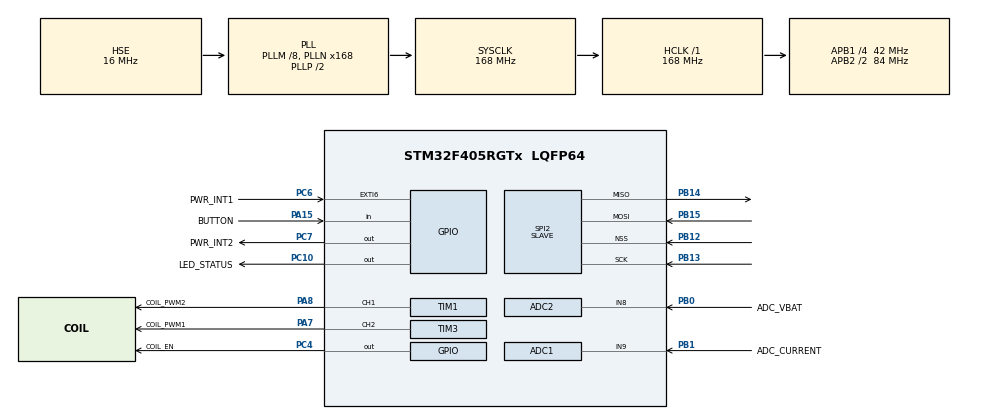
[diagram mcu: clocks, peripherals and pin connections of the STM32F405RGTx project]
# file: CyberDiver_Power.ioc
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ADC1.Channel-0\#ChannelRegularConversion=ADC_CHANNEL_9
ADC1.ContinuousConvMode=DISABLE
ADC1.DMAContinuousRequests=ENABLE
ADC1.ExternalTrigConv=ADC_EXTERNALTRIGCONV_T2_TRGO
ADC1.ExternalTrigConvEdge=ADC_EXTERNALTRIGCONVEDGE_FALLING
ADC1.NbrOfConversion=1
ADC1.NbrOfConversionFlag=1
ADC1.Rank-0\#ChannelRegularConversion=1
ADC1.SamplingTime-0\#ChannelRegularConversion=ADC_SAMPLETIME_3CYCLES
ADC1.master=1
ADC2.Channel-0\#ChannelRegularConversion=ADC_CHANNEL_8
ADC2.NbrOfConversionFlag=1
ADC2.Rank-0\#ChannelRegularConversion=1
ADC2.SamplingTime-0\#ChannelRegularConversion=ADC_SAMPLETIME_56CYCLES
Dma.ADC1.0.Direction=DMA_PERIPH_TO_MEMORY
Dma.ADC1.0.FIFOMode=DMA_FIFOMODE_DISABLE
Dma.ADC1.0.Instance=DMA2_Stream0
Dma.ADC1.0.MemDataAlignment=DMA_MDATAALIGN_HALFWORD
Dma.ADC1.0.MemInc=DMA_MINC_ENABLE
Dma.ADC1.0.Mode=DMA_CIRCULAR
Dma.ADC1.0.PeriphDataAlignment=DMA_PDATAALIGN_HALFWORD
Dma.ADC1.0.PeriphInc=DMA_PINC_DISABLE
Dma.ADC1.0.Priority=DMA_PRIORITY_VERY_HIGH
Dma.Request0=ADC1
Dma.Request1=SPI2_RX
Dma.Request2=SPI2_TX
Dma.SPI2_RX.1.Direction=DMA_PERIPH_TO_MEMORY
Dma.SPI2_RX.1.FIFOMode=DMA_FIFOMODE_DISABLE
Dma.SPI2_RX.1.Instance=DMA1_Stream3
Dma.SPI2_RX.1.MemDataAlignment=DMA_MDATAALIGN_BYTE
Dma.SPI2_RX.1.MemInc=DMA_MINC_ENABLE
Dma.SPI2_RX.1.Mode=DMA_CIRCULAR
Dma.SPI2_RX.1.PeriphDataAlignment=DMA_PDATAALIGN_BYTE
Dma.SPI2_RX.1.PeriphInc=DMA_PINC_DISABLE
Dma.SPI2_RX.1.Priority=DMA_PRIORITY_HIGH
Dma.SPI2_TX.2.Direction=DMA_MEMORY_TO_PERIPH
Dma.SPI2_TX.2.FIFOMode=DMA_FIFOMODE_DISABLE
Dma.SPI2_TX.2.Instance=DMA1_Stream4
Dma.SPI2_TX.2.MemDataAlignment=DMA_MDATAALIGN_BYTE
Dma.SPI2_TX.2.MemInc=DMA_MINC_ENABLE
Dma.SPI2_TX.2.Mode=DMA_CIRCULAR
Dma.SPI2_TX.2.PeriphDataAlignment=DMA_PDATAALIGN_BYTE
Dma.SPI2_TX.2.PeriphInc=DMA_PINC_DISABLE
Dma.SPI2_TX.2.Priority=DMA_PRIORITY_HIGH
Mcu.Family=STM32F4
Mcu.Name=STM32F405RGTx
Mcu.Package=LQFP64
NVIC.DMA1_Stream3_IRQn=true\:1\:1\:true\:false\:true\:false\:true\:false
NVIC.DMA1_Stream4_IRQn=true\:1\:1\:true\:false\:true\:false\:true\:false
NVIC.DMA2_Stream0_IRQn=true\:0\:0\:true\:false\:true\:false\:true\:false
NVIC.EXTI9_5_IRQn=true\:2\:2\:true\:false\:true\:true\:true\:false
NVIC.PriorityGroup=NVIC_PRIORITYGROUP_2
NVIC.TIM2_IRQn=true\:0\:0\:true\:false\:true\:true\:true\:false
PA13.Mode=Trace_Asynchronous_SW
PA13.Signal=SYS_JTMS-SWDIO
PA14.Mode=Trace_Asynchronous_SW
PA14.Signal=SYS_JTCK-SWCLK
PA15.GPIO_Label=BUTTON
PA15.Signal=GPIO_Input
PA7.GPIO_Label=COIL_PWM1
PA7.Signal=S_TIM3_CH2
PA8.GPIO_Label=COIL_PWM2
PA8.Signal=S_TIM1_CH1
PB0.GPIO_Label=ADC_VBAT
PB0.Signal=ADCx_IN8
PB1.GPIO_Label=ADC_CURRENT
PB1.Signal=ADCx_IN9
PB12.Mode=NSS_Signal_Hard_Input
PB12.Signal=SPI2_NSS
PB13.Mode=Full_Duplex_Slave
PB13.Signal=SPI2_SCK
PB14.Mode=Full_Duplex_Slave
PB14.Signal=SPI2_MISO
PB15.Mode=Full_Duplex_Slave
PB15.Signal=SPI2_MOSI
PB3.Mode=Trace_Asynchronous_SW
PB3.Signal=SYS_JTDO-SWO
PC10.GPIO_Label=LED_STATUS
PC10.Signal=GPIO_Output
PC4.GPIO_Label=COIL_EN
PC4.GPIO_Speed=GPIO_SPEED_FREQ_VERY_HIGH
PC4.Signal=GPIO_Output
PC6.GPIO_Label=PWR_INT1
PC6.GPIO_ModeDefaultEXTI=GPIO_MODE_IT_RISING_FALLING
PC6.Signal=GPXTI6
PC7.GPIO_Label=PWR_INT2
PC7.GPIO_Speed=GPIO_SPEED_FREQ_VERY_HIGH
PC7.Signal=GPIO_Output
PH0-OSC_IN.Mode=HSE-External-Oscillator
PH0-OSC_IN.Signal=RCC_OSC_IN
PH1-OSC_OUT.Mode=HSE-External-Oscillator
PH1-OSC_OUT.Signal=RCC_OSC_OUT
ProjectManager.HeapSize=0x200
ProjectManager.StackSize=0x400
ProjectManager.TargetToolchain=STM32CubeIDE
RCC.48MHZClocksFreq_Value=84000000
RCC.AHBFreq_Value=168000000
RCC.APB1CLKDivider=RCC_HCLK_DIV4
RCC.APB1Freq_Value=42000000
RCC.APB1TimFreq_Value=84000000
RCC.APB2CLKDivider=RCC_HCLK_DIV2
RCC.APB2Freq_Value=84000000
RCC.APB2TimFreq_Value=168000000
RCC.CortexFreq_Value=168000000
RCC.HCLKFreq_Value=168000000
RCC.HSE_VALUE=16000000
RCC.HSI_VALUE=16000000
RCC.LSE_VALUE=32768
RCC.PLLM=8
RCC.PLLN=168
RCC.PLLSourceVirtual=RCC_PLLSOURCE_HSE
RCC.SYSCLKFreq_VALUE=168000000
RCC.SYSCLKSource=RCC_SYSCLKSOURCE_PLLCLK
RCC.VCOOutputFreq_Value=336000000
SH.ADCx_IN8.0=ADC2_IN8,IN8
SH.ADCx_IN9.0=ADC1_IN9,IN9
SH.S_TIM1_CH1.0=TIM1_CH1,PWM Generation1 CH1
SH.S_TIM3_CH2.0=TIM3_CH2,PWM Generation2 CH2
SPI2.CRCCalculation=SPI_CRCCALCULATION_DISABLE
SPI2.Direction=SPI_DIRECTION_2LINES
SPI2.Mode=SPI_MODE_SLAVE
SPI2.VirtualNSS=VM_NSSHARD
SPI2.VirtualType=VM_SLAVE
TIM1.AutomaticOutput=TIM_AUTOMATICOUTPUT_DISABLE
TIM1.BreakPolarity=TIM_BREAKPOLARITY_HIGH
TIM1.BreakState=TIM_BREAK_DISABLE
TIM1.Channel-PWM\ Generation1\ CH1=TIM_CHANNEL_1
TIM1.CounterMode=TIM_COUNTERMODE_CENTERALIGNED1
TIM1.OCIdleState_1=TIM_OCIDLESTATE_SET
TIM1.OffStateIDLEMode=TIM_OSSI_DISABLE
TIM1.OffStateRunMode=TIM_OSSR_DISABLE
TIM1.Period=65535
TIM1.Prescaler=1
TIM1.Pulse-PWM\ Generation1\ CH1=0
TIM1.TIM_MasterOutputTrigger=TIM_TRGO_RESET
TIM1.TIM_MasterSlaveMode=TIM_MASTERSLAVEMODE_DISABLE
TIM2.Channel-PWM\ Generation2\ No\ Output=TIM_CHANNEL_2
TIM2.OC2Preload_PWM=DISABLE
TIM2.OCMode_PWM-PWM\ Generation2\ No\ Output=TIM_OCMODE_PWM1
TIM2.OCPolarity_2=TIM_OCPOLARITY_HIGH
TIM2.Period=4294967295
TIM2.Pulse-PWM\ Generation2\ No\ Output=0
TIM2.TIM_MasterOutputTrigger=TIM_TRGO_OC2REF
TIM2.TIM_MasterSlaveMode=TIM_MASTERSLAVEMODE_DISABLE
TIM3.Channel-PWM\ Generation2\ CH2=TIM_CHANNEL_2
TIM3.CounterMode=TIM_COUNTERMODE_CENTERALIGNED1
TIM3.Period=1679
TIM3.Pulse-PWM\ Generation2\ CH2=0
TIM3.TIM_MasterOutputTrigger=TIM_TRGO_RESET
TIM3.TIM_MasterSlaveMode=TIM_MASTERSLAVEMODE_DISABLE
TIM4.Period=1000
TIM4.TIM_MasterOutputTrigger=TIM_TRGO_UPDATE
TIM4.TIM_MasterSlaveMode=TIM_MASTERSLAVEMODE_DISABLE
VP_TIM1_VS_ClockSourceINT.Mode=Internal
VP_TIM1_VS_ClockSourceITR.Mode=TriggerSource_ITR3
VP_TIM1_VS_ControllerModeTrigger.Mode=Trigger Mode
VP_TIM2_VS_ClockSourceINT.Mode=Internal
VP_TIM2_VS_ClockSourceITR.Mode=TriggerSource_ITR3
VP_TIM2_VS_ControllerModeTrigger.Mode=Trigger Mode
VP_TIM2_VS_no_output2.Mode=PWM Generation2 No Output
VP_TIM3_VS_ClockSourceINT.Mode=Internal
VP_TIM3_VS_ClockSourceITR.Mode=TriggerSource_ITR3
VP_TIM3_VS_ControllerModeTrigger.Mode=Trigger Mode
VP_TIM4_VS_ClockSourceINT.Mode=Internal
VP_TIM4_VS_OPM.Mode=OPM_bit
board=custom

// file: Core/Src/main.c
/* USER CODE BEGIN Header */
/**
  ******************************************************************************
  * @file           : main.c
  * @brief          : Main program body
  ******************************************************************************
  * @attention
  *
  * Copyright (c) 2024 STMicroelectronics.
  * All rights reserved.
  *
  * This software is licensed under terms that can be found in the LICENSE file
  * in the root directory of this software component.
  * If no LICENSE file comes with this software, it is provided AS-IS.
  *
  ******************************************************************************
  */
/* USER CODE END Header */
#include "main.h"

/* USER CODE BEGIN Includes */
#include "power_board.h"
/* USER CODE END Includes */

ADC_HandleTypeDef hadc1;
ADC_HandleTypeDef hadc2;
DMA_HandleTypeDef hdma_adc1;

SPI_HandleTypeDef hspi2;
DMA_HandleTypeDef hdma_spi2_rx;
DMA_HandleTypeDef hdma_spi2_tx;

TIM_HandleTypeDef htim1;
TIM_HandleTypeDef htim2;
TIM_HandleTypeDef htim3;
TIM_HandleTypeDef htim4;

/* USER CODE BEGIN PV */

PowerBoard pb;

/* USER CODE END PV */

void SystemClock_Config(void);
static void MX_GPIO_Init(void);
static void MX_DMA_Init(void);
static void MX_ADC1_Init(void);
static void MX_ADC2_Init(void);
static void MX_SPI2_Init(void);
static void MX_TIM1_Init(void);
static void MX_TIM2_Init(void);
static void MX_TIM3_Init(void);
static void MX_TIM4_Init(void);

/* USER CODE BEGIN 0 */

void HAL_GPIO_EXTI_Callback(uint16_t GPIO_Pin)
{
	/* called on rising/falling edge of INT1 signal */
	PowerBoardInterface_SetMode(&(pb.interface), HAL_GPIO_ReadPin(PWR_INT1_GPIO_Port, PWR_INT1_Pin));
}

void HAL_SPI_TxRxCpltCallback(SPI_HandleTypeDef *hspi)
{
	PowerBoardInterface_SPIComplete(&(pb.interface));
}

void HAL_SPI_TxRxHalfCpltCallback(SPI_HandleTypeDef *hspi)
{
	PowerBoardInterface_SPIComplete(&(pb.interface));
}

/* double buffer the ADC readings so that we can safely process them when we update the controller */
void HAL_ADC_ConvHalfCpltCallback(ADC_HandleTypeDef* hadc)
{
	PowerBoard_ControllerUpdate(&pb);
}

void HAL_ADC_ConvCpltCallback(ADC_HandleTypeDef* hadc)
{
	PowerBoard_ControllerUpdate(&pb);
}

#ifdef PB_TEST
void HAL_TIM_OC_DelayElapsedCallback(TIM_HandleTypeDef *htim)
{
	PWR_INT2_GPIO_Port->BSRR = PWR_INT2_Pin;
	PWR_INT2_GPIO_Port->BSRR = (uint32_t)PWR_INT2_Pin << 16U;
}
#endif

/* USER CODE END 0 */

int main(void)
{

  /* MCU Configuration--------------------------------------------------------*/

  /* Reset of all peripherals, Initializes the Flash interface and the Systick. */
  HAL_Init();

  /* Configure the system clock */
  SystemClock_Config();

  /* Initialize all configured peripherals */
  MX_GPIO_Init();
  MX_DMA_Init();
  MX_ADC1_Init();
  MX_ADC2_Init();
  MX_SPI2_Init();
  MX_TIM1_Init();
  MX_TIM2_Init();
  MX_TIM3_Init();
  MX_TIM4_Init();

  /* Infinite loop */
  /* USER CODE BEGIN WHILE */

  PowerBoard_Init(&pb, &htim3, &htim1, &htim2, &htim4, &hadc1, &hadc2, &hspi2);

  while (1)
  {

	PowerBoard_LoopUpdate(&pb);

    /* USER CODE END WHILE */

  }
}

void SystemClock_Config(void)
{
  RCC_OscInitTypeDef RCC_OscInitStruct = {0};
  RCC_ClkInitTypeDef RCC_ClkInitStruct = {0};

  /** Configure the main internal regulator output voltage
  */
  __HAL_RCC_PWR_CLK_ENABLE();
  __HAL_PWR_VOLTAGESCALING_CONFIG(PWR_REGULATOR_VOLTAGE_SCALE1);

  /** Initializes the RCC Oscillators according to the specified parameters
  * in the RCC_OscInitTypeDef structure.
  */
  RCC_OscInitStruct.OscillatorType = RCC_OSCILLATORTYPE_HSE;
  RCC_OscInitStruct.HSEState = RCC_HSE_ON;
  RCC_OscInitStruct.PLL.PLLState = RCC_PLL_ON;
  RCC_OscInitStruct.PLL.PLLSource = RCC_PLLSOURCE_HSE;
  RCC_OscInitStruct.PLL.PLLM = 8;
  RCC_OscInitStruct.PLL.PLLN = 168;
  RCC_OscInitStruct.PLL.PLLP = RCC_PLLP_DIV2;
  RCC_OscInitStruct.PLL.PLLQ = 4;
  if (HAL_RCC_OscConfig(&RCC_OscInitStruct) != HAL_OK)
  {
    Error_Handler();
  }

  /** Initializes the CPU, AHB and APB buses clocks
  */
  RCC_ClkInitStruct.ClockType = RCC_CLOCKTYPE_HCLK|RCC_CLOCKTYPE_SYSCLK
                              |RCC_CLOCKTYPE_PCLK1|RCC_CLOCKTYPE_PCLK2;
  RCC_ClkInitStruct.SYSCLKSource = RCC_SYSCLKSOURCE_PLLCLK;
  RCC_ClkInitStruct.AHBCLKDivider = RCC_SYSCLK_DIV1;
  RCC_ClkInitStruct.APB1CLKDivider = RCC_HCLK_DIV4;
  RCC_ClkInitStruct.APB2CLKDivider = RCC_HCLK_DIV2;

  if (HAL_RCC_ClockConfig(&RCC_ClkInitStruct, FLASH_LATENCY_5) != HAL_OK)
  {
    Error_Handler();
  }
}

static void MX_ADC1_Init(void)
{

  ADC_ChannelConfTypeDef sConfig = {0};

  /** Configure the global features of the ADC (Clock, Resolution, Data Alignment and number of conversion)
  */
  hadc1.Instance = ADC1;
  hadc1.Init.ClockPrescaler = ADC_CLOCK_SYNC_PCLK_DIV4;
  hadc1.Init.Resolution = ADC_RESOLUTION_12B;
  hadc1.Init.ScanConvMode = DISABLE;
  hadc1.Init.ContinuousConvMode = DISABLE;
  hadc1.Init.DiscontinuousConvMode = DISABLE;
  hadc1.Init.ExternalTrigConvEdge = ADC_EXTERNALTRIGCONVEDGE_FALLING;
  hadc1.Init.ExternalTrigConv = ADC_EXTERNALTRIGCONV_T2_TRGO;
  hadc1.Init.DataAlign = ADC_DATAALIGN_RIGHT;
  hadc1.Init.NbrOfConversion = 1;
  hadc1.Init.DMAContinuousRequests = ENABLE;
  hadc1.Init.EOCSelection = ADC_EOC_SINGLE_CONV;
  if (HAL_ADC_Init(&hadc1) != HAL_OK)
  {
    Error_Handler();
  }

  /** Configure for the selected ADC regular channel its corresponding rank in the sequencer and its sample time.
  */
  sConfig.Channel = ADC_CHANNEL_9;
  sConfig.Rank = 1;
  sConfig.SamplingTime = ADC_SAMPLETIME_3CYCLES;
  if (HAL_ADC_ConfigChannel(&hadc1, &sConfig) != HAL_OK)
  {
    Error_Handler();
  }

}

static void MX_ADC2_Init(void)
{

  ADC_ChannelConfTypeDef sConfig = {0};

  /** Configure the global features of the ADC (Clock, Resolution, Data Alignment and number of conversion)
  */
  hadc2.Instance = ADC2;
  hadc2.Init.ClockPrescaler = ADC_CLOCK_SYNC_PCLK_DIV4;
  hadc2.Init.Resolution = ADC_RESOLUTION_12B;
  hadc2.Init.ScanConvMode = DISABLE;
  hadc2.Init.ContinuousConvMode = DISABLE;
  hadc2.Init.DiscontinuousConvMode = DISABLE;
  hadc2.Init.ExternalTrigConvEdge = ADC_EXTERNALTRIGCONVEDGE_NONE;
  hadc2.Init.ExternalTrigConv = ADC_SOFTWARE_START;
  hadc2.Init.DataAlign = ADC_DATAALIGN_RIGHT;
  hadc2.Init.NbrOfConversion = 1;
  hadc2.Init.DMAContinuousRequests = DISABLE;
  hadc2.Init.EOCSelection = ADC_EOC_SINGLE_CONV;
  if (HAL_ADC_Init(&hadc2) != HAL_OK)
  {
    Error_Handler();
  }

  /** Configure for the selected ADC regular channel its corresponding rank in the sequencer and its sample time.
  */
  sConfig.Channel = ADC_CHANNEL_8;
  sConfig.Rank = 1;
  sConfig.SamplingTime = ADC_SAMPLETIME_56CYCLES;
  if (HAL_ADC_ConfigChannel(&hadc2, &sConfig) != HAL_OK)
  {
    Error_Handler();
  }

}

static void MX_SPI2_Init(void)
{

  /* SPI2 parameter configuration*/
  hspi2.Instance = SPI2;
  hspi2.Init.Mode = SPI_MODE_SLAVE;
  hspi2.Init.Direction = SPI_DIRECTION_2LINES;
  hspi2.Init.DataSize = SPI_DATASIZE_8BIT;
  hspi2.Init.CLKPolarity = SPI_POLARITY_LOW;
  hspi2.Init.CLKPhase = SPI_PHASE_1EDGE;
  hspi2.Init.NSS = SPI_NSS_HARD_INPUT;
  hspi2.Init.FirstBit = SPI_FIRSTBIT_MSB;
  hspi2.Init.TIMode = SPI_TIMODE_DISABLE;
  hspi2.Init.CRCCalculation = SPI_CRCCALCULATION_DISABLE;
  hspi2.Init.CRCPolynomial = 10;
  if (HAL_SPI_Init(&hspi2) != HAL_OK)
  {
    Error_Handler();
  }

}

static void MX_TIM1_Init(void)
{

  TIM_ClockConfigTypeDef sClockSourceConfig = {0};
  TIM_SlaveConfigTypeDef sSlaveConfig = {0};
  TIM_MasterConfigTypeDef sMasterConfig = {0};
  TIM_OC_InitTypeDef sConfigOC = {0};
  TIM_BreakDeadTimeConfigTypeDef sBreakDeadTimeConfig = {0};

  htim1.Instance = TIM1;
  htim1.Init.Prescaler = 1;
  htim1.Init.CounterMode = TIM_COUNTERMODE_CENTERALIGNED1;
  htim1.Init.Period = 65535;
  htim1.Init.ClockDivision = TIM_CLOCKDIVISION_DIV1;
  htim1.Init.RepetitionCounter = 0;
  htim1.Init.AutoReloadPreload = TIM_AUTORELOAD_PRELOAD_DISABLE;
  if (HAL_TIM_Base_Init(&htim1) != HAL_OK)
  {
    Error_Handler();
  }
  sClockSourceConfig.ClockSource = TIM_CLOCKSOURCE_INTERNAL;
  if (HAL_TIM_ConfigClockSource(&htim1, &sClockSourceConfig) != HAL_OK)
  {
    Error_Handler();
  }
  if (HAL_TIM_PWM_Init(&htim1) != HAL_OK)
  {
    Error_Handler();
  }
  sSlaveConfig.SlaveMode = TIM_SLAVEMODE_TRIGGER;
  sSlaveConfig.InputTrigger = TIM_TS_ITR3;
  if (HAL_TIM_SlaveConfigSynchro(&htim1, &sSlaveConfig) != HAL_OK)
  {
    Error_Handler();
  }
  sMasterConfig.MasterOutputTrigger = TIM_TRGO_RESET;
  sMasterConfig.MasterSlaveMode = TIM_MASTERSLAVEMODE_DISABLE;
  if (HAL_TIMEx_MasterConfigSynchronization(&htim1, &sMasterConfig) != HAL_OK)
  {
    Error_Handler();
  }
  sConfigOC.OCMode = TIM_OCMODE_PWM1;
  sConfigOC.Pulse = 0;
  sConfigOC.OCPolarity = TIM_OCPOLARITY_HIGH;
  sConfigOC.OCNPolarity = TIM_OCNPOLARITY_HIGH;
  sConfigOC.OCFastMode = TIM_OCFAST_DISABLE;
  sConfigOC.OCIdleState = TIM_OCIDLESTATE_SET;
  sConfigOC.OCNIdleState = TIM_OCNIDLESTATE_RESET;
  if (HAL_TIM_PWM_ConfigChannel(&htim1, &sConfigOC, TIM_CHANNEL_1) != HAL_OK)
  {
    Error_Handler();
  }
  sBreakDeadTimeConfig.OffStateRunMode = TIM_OSSR_DISABLE;
  sBreakDeadTimeConfig.OffStateIDLEMode = TIM_OSSI_DISABLE;
  sBreakDeadTimeConfig.LockLevel = TIM_LOCKLEVEL_OFF;
  sBreakDeadTimeConfig.DeadTime = 0;
  sBreakDeadTimeConfig.BreakState = TIM_BREAK_DISABLE;
  sBreakDeadTimeConfig.BreakPolarity = TIM_BREAKPOLARITY_HIGH;
  sBreakDeadTimeConfig.AutomaticOutput = TIM_AUTOMATICOUTPUT_DISABLE;
  if (HAL_TIMEx_ConfigBreakDeadTime(&htim1, &sBreakDeadTimeConfig) != HAL_OK)
  {
    Error_Handler();
  }
  HAL_TIM_MspPostInit(&htim1);

}

static void MX_TIM2_Init(void)
{

  TIM_ClockConfigTypeDef sClockSourceConfig = {0};
  TIM_SlaveConfigTypeDef sSlaveConfig = {0};
  TIM_MasterConfigTypeDef sMasterConfig = {0};
  TIM_OC_InitTypeDef sConfigOC = {0};

  htim2.Instance = TIM2;
  htim2.Init.Prescaler = 0;
  htim2.Init.CounterMode = TIM_COUNTERMODE_UP;
  htim2.Init.Period = 4294967295;
  htim2.Init.ClockDivision = TIM_CLOCKDIVISION_DIV1;
  htim2.Init.AutoReloadPreload = TIM_AUTORELOAD_PRELOAD_DISABLE;
  if (HAL_TIM_Base_Init(&htim2) != HAL_OK)
  {
    Error_Handler();
  }
  sClockSourceConfig.ClockSource = TIM_CLOCKSOURCE_INTERNAL;
  if (HAL_TIM_ConfigClockSource(&htim2, &sClockSourceConfig) != HAL_OK)
  {
    Error_Handler();
  }
  if (HAL_TIM_PWM_Init(&htim2) != HAL_OK)
  {
    Error_Handler();
  }
  sSlaveConfig.SlaveMode = TIM_SLAVEMODE_TRIGGER;
  sSlaveConfig.InputTrigger = TIM_TS_ITR3;
  if (HAL_TIM_SlaveConfigSynchro(&htim2, &sSlaveConfig) != HAL_OK)
  {
    Error_Handler();
  }
  sMasterConfig.MasterOutputTrigger = TIM_TRGO_OC2REF;
  sMasterConfig.MasterSlaveMode = TIM_MASTERSLAVEMODE_DISABLE;
  if (HAL_TIMEx_MasterConfigSynchronization(&htim2, &sMasterConfig) != HAL_OK)
  {
    Error_Handler();
  }
  sConfigOC.OCMode = TIM_OCMODE_PWM1;
  sConfigOC.Pulse = 0;
  sConfigOC.OCPolarity = TIM_OCPOLARITY_HIGH;
  sConfigOC.OCFastMode = TIM_OCFAST_DISABLE;
  if (HAL_TIM_PWM_ConfigChannel(&htim2, &sConfigOC, TIM_CHANNEL_2) != HAL_OK)
  {
    Error_Handler();
  }
  __HAL_TIM_DISABLE_OCxPRELOAD(&htim2, TIM_CHANNEL_2);

}

static void MX_TIM3_Init(void)
{

  TIM_ClockConfigTypeDef sClockSourceConfig = {0};
  TIM_SlaveConfigTypeDef sSlaveConfig = {0};
  TIM_MasterConfigTypeDef sMasterConfig = {0};
  TIM_OC_InitTypeDef sConfigOC = {0};

  htim3.Instance = TIM3;
  htim3.Init.Prescaler = 0;
  htim3.Init.CounterMode = TIM_COUNTERMODE_CENTERALIGNED1;
  htim3.Init.Period = 1679;
  htim3.Init.ClockDivision = TIM_CLOCKDIVISION_DIV1;
  htim3.Init.AutoReloadPreload = TIM_AUTORELOAD_PRELOAD_DISABLE;
  if (HAL_TIM_Base_Init(&htim3) != HAL_OK)
  {
    Error_Handler();
  }
  sClockSourceConfig.ClockSource = TIM_CLOCKSOURCE_INTERNAL;
  if (HAL_TIM_ConfigClockSource(&htim3, &sClockSourceConfig) != HAL_OK)
  {
    Error_Handler();
  }
  if (HAL_TIM_PWM_Init(&htim3) != HAL_OK)
  {
    Error_Handler();
  }
  sSlaveConfig.SlaveMode = TIM_SLAVEMODE_TRIGGER;
  sSlaveConfig.InputTrigger = TIM_TS_ITR3;
  if (HAL_TIM_SlaveConfigSynchro(&htim3, &sSlaveConfig) != HAL_OK)
  {
    Error_Handler();
  }
  sMasterConfig.MasterOutputTrigger = TIM_TRGO_RESET;
  sMasterConfig.MasterSlaveMode = TIM_MASTERSLAVEMODE_DISABLE;
  if (HAL_TIMEx_MasterConfigSynchronization(&htim3, &sMasterConfig) != HAL_OK)
  {
    Error_Handler();
  }
  sConfigOC.OCMode = TIM_OCMODE_PWM1;
  sConfigOC.Pulse = 0;
  sConfigOC.OCPolarity = TIM_OCPOLARITY_HIGH;
  sConfigOC.OCFastMode = TIM_OCFAST_DISABLE;
  if (HAL_TIM_PWM_ConfigChannel(&htim3, &sConfigOC, TIM_CHANNEL_2) != HAL_OK)
  {
    Error_Handler();
  }
  HAL_TIM_MspPostInit(&htim3);

}

static void MX_TIM4_Init(void)
{

  TIM_ClockConfigTypeDef sClockSourceConfig = {0};
  TIM_MasterConfigTypeDef sMasterConfig = {0};

  htim4.Instance = TIM4;
  htim4.Init.Prescaler = 0;
  htim4.Init.CounterMode = TIM_COUNTERMODE_UP;
  htim4.Init.Period = 1000;
  htim4.Init.ClockDivision = TIM_CLOCKDIVISION_DIV1;
  htim4.Init.AutoReloadPreload = TIM_AUTORELOAD_PRELOAD_DISABLE;
  if (HAL_TIM_Base_Init(&htim4) != HAL_OK)
  {
    Error_Handler();
  }
  sClockSourceConfig.ClockSource = TIM_CLOCKSOURCE_INTERNAL;
  if (HAL_TIM_ConfigClockSource(&htim4, &sClockSourceConfig) != HAL_OK)
  {
    Error_Handler();
  }
  if (HAL_TIM_OnePulse_Init(&htim4, TIM_OPMODE_SINGLE) != HAL_OK)
  {
    Error_Handler();
  }
  sMasterConfig.MasterOutputTrigger = TIM_TRGO_UPDATE;
  sMasterConfig.MasterSlaveMode = TIM_MASTERSLAVEMODE_DISABLE;
  if (HAL_TIMEx_MasterConfigSynchronization(&htim4, &sMasterConfig) != HAL_OK)
  {
    Error_Handler();
  }

}

static void MX_DMA_Init(void)
{

  /* DMA controller clock enable */
  __HAL_RCC_DMA2_CLK_ENABLE();
  __HAL_RCC_DMA1_CLK_ENABLE();

  /* DMA interrupt init */
  /* DMA1_Stream3_IRQn interrupt configuration */
  HAL_NVIC_SetPriority(DMA1_Stream3_IRQn, 1, 1);
  HAL_NVIC_EnableIRQ(DMA1_Stream3_IRQn);
  /* DMA1_Stream4_IRQn interrupt configuration */
  HAL_NVIC_SetPriority(DMA1_Stream4_IRQn, 1, 1);
  HAL_NVIC_EnableIRQ(DMA1_Stream4_IRQn);
  /* DMA2_Stream0_IRQn interrupt configuration */
  HAL_NVIC_SetPriority(DMA2_Stream0_IRQn, 0, 0);
  HAL_NVIC_EnableIRQ(DMA2_Stream0_IRQn);

}

static void MX_GPIO_Init(void)
{
  GPIO_InitTypeDef GPIO_InitStruct = {0};

  /* GPIO Ports Clock Enable */
  __HAL_RCC_GPIOH_CLK_ENABLE();
  __HAL_RCC_GPIOA_CLK_ENABLE();
  __HAL_RCC_GPIOC_CLK_ENABLE();
  __HAL_RCC_GPIOB_CLK_ENABLE();

  /*Configure GPIO pin Output Level */
  HAL_GPIO_WritePin(GPIOC, COIL_EN_Pin|PWR_INT2_Pin|LED_STATUS_Pin, GPIO_PIN_RESET);

  /*Configure GPIO pins : COIL_EN_Pin PWR_INT2_Pin */
  GPIO_InitStruct.Pin = COIL_EN_Pin|PWR_INT2_Pin;
  GPIO_InitStruct.Mode = GPIO_MODE_OUTPUT_PP;
  GPIO_InitStruct.Pull = GPIO_NOPULL;
  GPIO_InitStruct.Speed = GPIO_SPEED_FREQ_VERY_HIGH;
  HAL_GPIO_Init(GPIOC, &GPIO_InitStruct);

  /*Configure GPIO pin : PWR_INT1_Pin */
  GPIO_InitStruct.Pin = PWR_INT1_Pin;
  GPIO_InitStruct.Mode = GPIO_MODE_IT_RISING_FALLING;
  GPIO_InitStruct.Pull = GPIO_NOPULL;
  HAL_GPIO_Init(PWR_INT1_GPIO_Port, &GPIO_InitStruct);

  /*Configure GPIO pin : BUTTON_Pin */
  GPIO_InitStruct.Pin = BUTTON_Pin;
  GPIO_InitStruct.Mode = GPIO_MODE_INPUT;
  GPIO_InitStruct.Pull = GPIO_NOPULL;
  HAL_GPIO_Init(BUTTON_GPIO_Port, &GPIO_InitStruct);

  /*Configure GPIO pin : LED_STATUS_Pin */
  GPIO_InitStruct.Pin = LED_STATUS_Pin;
  GPIO_InitStruct.Mode = GPIO_MODE_OUTPUT_PP;
  GPIO_InitStruct.Pull = GPIO_NOPULL;
  GPIO_InitStruct.Speed = GPIO_SPEED_FREQ_LOW;
  HAL_GPIO_Init(LED_STATUS_GPIO_Port, &GPIO_InitStruct);

  /* EXTI interrupt init*/
  HAL_NVIC_SetPriority(EXTI9_5_IRQn, 2, 2);

}

void Error_Handler(void)
{
  __disable_irq();
  while (1)
  {
  }
}
